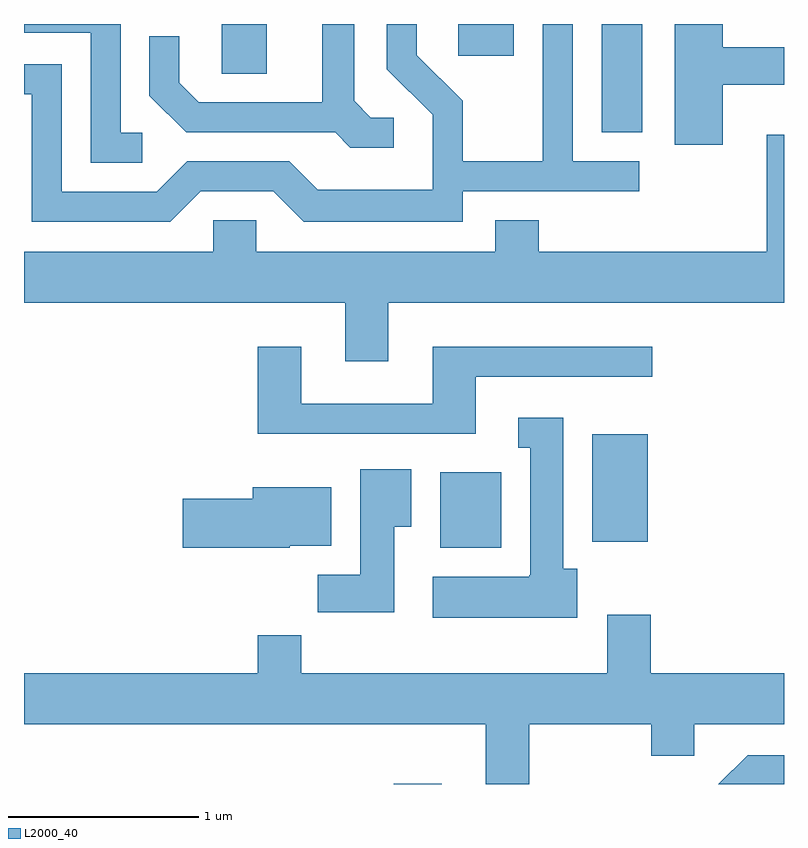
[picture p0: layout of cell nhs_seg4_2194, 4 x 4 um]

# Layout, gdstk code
import gdstk
lib = gdstk.Library(unit=1e-6, precision=1e-09)
def R(c, l, rs):  # rectangles x0, y0, x1, y1
    for r in rs: c.add(gdstk.rectangle(r[:2], r[2:], *l))
def P(c, l, *ps):  # polygons
    for p in ps: c.add(gdstk.Polygon(p, *l))
L2000_40 = (2000, 40)

nhs_seg4_2194 = lib.new_cell('nhs_seg4_2194')
R(nhs_seg4_2194, L2000_40, [(251.556,1289.982,251.809,1289.984), (251.801,1291.226,252.124,1291.624), (252.601,1291.256,252.894,1291.824), (252.651,1293.411,252.864,1293.982), (250.651,1293.721,250.889,1293.982), (251.896,1293.816,252.189,1293.982)])
P(nhs_seg4_2194, L2000_40, [(251.558,1293.489),(251.437,1293.489),(251.349,1293.577),(251.349,1293.982),(251.181,1293.982),(251.181,1293.569),(250.532,1293.569),(250.429,1293.672),(250.429,1293.918),(250.271,1293.918),(250.271,1293.604),(250.464,1293.411),(251.249,1293.411),(251.329,1293.331),(251.558,1293.331)],
  [(253.289,1293.661),(253.611,1293.661),(253.611,1293.859),(253.289,1293.859),(253.289,1293.982),(253.036,1293.982),(253.036,1293.346),(253.289,1293.346)],
  [(250.542,1293.101),(250.924,1293.101),(251.084,1292.941),(251.919,1292.941),(251.919,1293.101),(252.848,1293.101),(252.848,1293.259),(252.499,1293.259),(252.499,1293.982),(252.341,1293.982),(252.341,1293.259),(251.919,1293.259),(251.919,1293.577),(251.679,1293.817),(251.679,1293.982),(251.521,1293.982),(251.521,1293.744),(251.761,1293.504),(251.761,1293.109),(251.157,1293.109),(251.007,1293.259),(250.469,1293.259),(250.309,1293.099),(249.809,1293.099),(249.809,1293.769),(249.611,1293.769),(249.611,1293.611),(249.651,1293.611),(249.651,1292.941),(250.382,1292.941)],
  [(250.233,1293.409),(250.119,1293.409),(250.119,1293.982),(249.611,1293.982),(249.611,1293.936),(249.961,1293.936),(249.961,1293.251),(250.233,1293.251)],
  [(251.529,1292.516),(253.611,1292.516),(253.611,1293.399),(253.521,1293.399),(253.521,1292.784),(252.319,1292.784),(252.319,1292.949),(252.091,1292.949),(252.091,1292.784),(250.834,1292.784),(250.834,1292.949),(250.606,1292.949),(250.606,1292.784),(249.611,1292.784),(249.611,1292.516),(251.301,1292.516),(251.301,1292.206),(251.529,1292.206)],
  [(251.989,1292.126),(252.918,1292.126),(252.918,1292.284),(251.761,1292.284),(251.761,1291.984),(251.069,1291.984),(251.069,1292.284),(250.841,1292.284),(250.841,1291.826),(251.989,1291.826)],
  [(252.524,1291.114),(252.449,1291.114),(252.449,1291.909),(252.213,1291.909),(252.213,1291.751),(252.276,1291.751),(252.276,1291.08),(252.27,1291.08),(252.27,1291.074),(251.761,1291.074),(251.761,1290.856),(252.524,1290.856)],
  [(251.559,1291.336),(251.649,1291.336),(251.649,1291.639),(251.381,1291.639),(251.381,1291.084),(251.156,1291.084),(251.156,1290.886),(251.559,1290.886)],
  [(251.01,1291.236),(251.229,1291.236),(251.229,1291.544),(250.816,1291.544),(250.816,1291.484),(250.446,1291.484),(250.446,1291.226),(251.01,1291.226)],
  [(251.069,1290.764),(250.841,1290.764),(250.841,1290.564),(249.611,1290.564),(249.611,1290.296),(252.041,1290.296),(252.041,1289.982),(252.269,1289.982),(252.269,1290.296),(252.911,1290.296),(252.911,1290.131),(253.139,1290.131),(253.139,1290.296),(253.611,1290.296),(253.611,1290.564),(252.909,1290.564),(252.909,1290.874),(252.681,1290.874),(252.681,1290.564),(251.069,1290.564)],
  [(253.611,1290.134),(253.419,1290.134),(253.266,1289.982),(253.611,1289.982)])

lib.write_gds('nhs_seg4_2194.gds')
